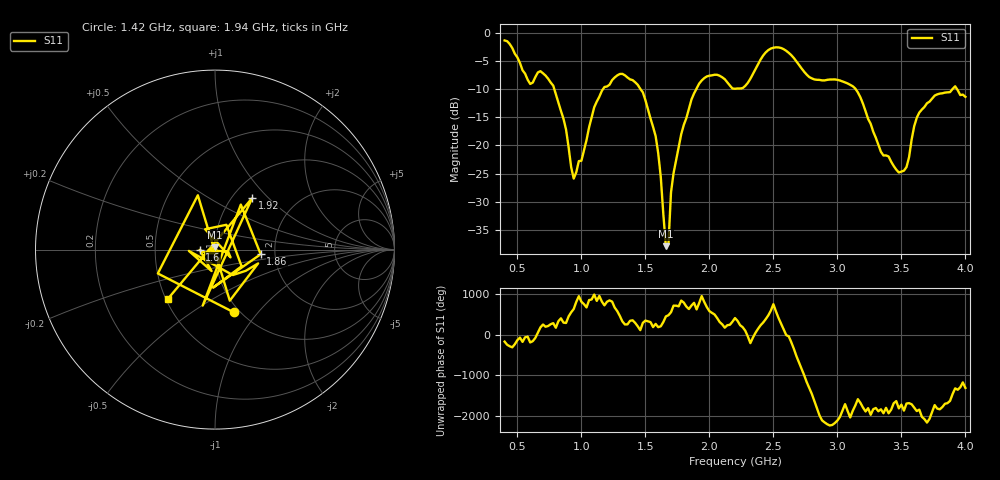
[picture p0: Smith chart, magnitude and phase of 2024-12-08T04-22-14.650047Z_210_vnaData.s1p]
!Created with skrf (http://scikit-rf.org).
# Hz S RI R 50.0
!freq ReS11 ImS11
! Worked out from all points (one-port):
!   181 points, 400 MHz to 4 GHz, reference 50 ohm
!   lowest |S11| = -37.9 dB at 1.66 GHz (marker M1), VSWR 1.03, Z = 50.1 + j1.28 ohm
!   |S11| at or under -10 dB: 788.1 MHz to 1.169 GHz (380.9 MHz wide, 38.9 % of centre); 1.461 GHz to 1.898 GHz (436.8 MHz wide, 26 % of centre); 3.143 GHz to 3.899 GHz (756.4 MHz wide, 21.5 % of centre) (the widest 3 of 4)
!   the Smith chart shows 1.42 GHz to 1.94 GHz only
!   S11 on the Smith chart (normalised r, x): 1.42 GHz: 0.94, -0.75; 1.6 GHz: 0.84, -0.00; 1.86 GHz: 1.68, -0.09; 1.92 GHz: 1.23, +0.81; 1.94 GHz: 0.52, -0.33
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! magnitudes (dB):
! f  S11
! 400 MHz  -1.4
! 600 MHz  -9.1
! 740 MHz  -8.2
! 860 MHz  -15.3
! 940 MHz  -25.9
! 1.1 GHz  -13.2
! 1.3 GHz  -7.3
! 1.42 GHz  -8.8
! 1.5 GHz  -12.0
! 1.6 GHz  -21.4
! 1.66 GHz  -37.9
! 1.68 GHz  -37.5
! 1.7 GHz  -28.3
! 1.76 GHz  -20.3
! 1.86 GHz  -11.8
! 1.92 GHz  -9.0
! 1.94 GHz  -8.5
! 2.2 GHz  -9.9
! 2.48 GHz  -2.8
! 2.66 GHz  -4.5
! 3.1 GHz  -9.2
! 3.36 GHz  -21.8
! 3.48 GHz  -24.8
! 3.56 GHz  -22.1
! 3.62 GHz  -15.1
! 3.7 GHz  -12.5
! 3.92 GHz  -9.5
! 4 GHz  -11.4
